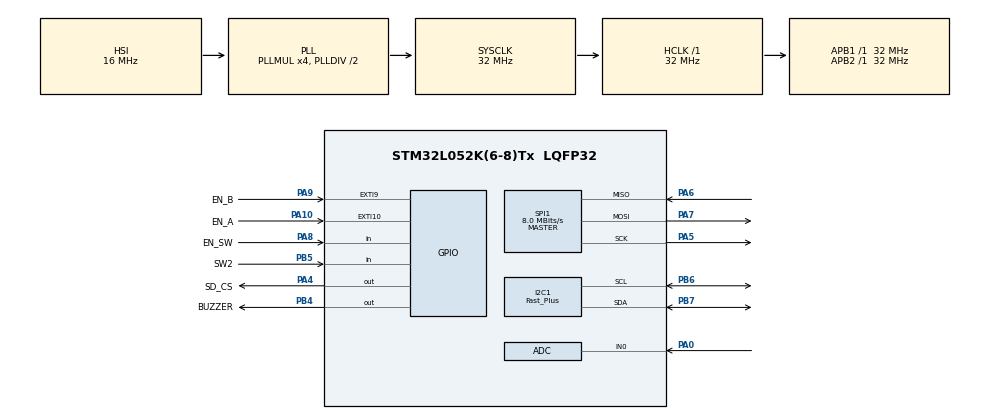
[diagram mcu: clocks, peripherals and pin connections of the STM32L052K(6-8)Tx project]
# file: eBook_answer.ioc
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ADC.ContinuousConvMode=DISABLE
ADC.DMAContinuousRequests=ENABLE
ADC.ExternalTrigConv=ADC_EXTERNALTRIGCONV_T2_TRGO
ADC.SamplingTime=ADC_SAMPLETIME_160CYCLES_5
Dma.ADC.0.Direction=DMA_PERIPH_TO_MEMORY
Dma.ADC.0.Instance=DMA1_Channel1
Dma.ADC.0.MemDataAlignment=DMA_MDATAALIGN_HALFWORD
Dma.ADC.0.MemInc=DMA_MINC_ENABLE
Dma.ADC.0.Mode=DMA_CIRCULAR
Dma.ADC.0.PeriphDataAlignment=DMA_PDATAALIGN_HALFWORD
Dma.ADC.0.PeriphInc=DMA_PINC_DISABLE
Dma.ADC.0.Priority=DMA_PRIORITY_LOW
Dma.Request0=ADC
FATFS._CODE_PAGE=437
FATFS._FS_EXFAT=0
FATFS._FS_LOCK=0
FATFS._FS_MINIMIZE=0
FATFS._FS_READONLY=1
FATFS._LFN_UNICODE=0
FATFS._MAX_SS=512
FATFS._USE_CHMOD=0
FATFS._USE_EXPAND=0
FATFS._USE_FASTSEEK=1
FATFS._USE_FIND=1
FATFS._USE_FORWARD=0
FATFS._USE_LABEL=0
FATFS._USE_LFN=1
FATFS._USE_MKFS=1
FATFS._USE_STRFUNC=2
I2C1.I2C_Speed_Mode=I2C_Fast_Plus
I2C1.Timing=0x00100413
Mcu.Family=STM32L0
Mcu.Name=STM32L052K(6-8)Tx
Mcu.Package=LQFP32
NVIC.DMA1_Channel1_IRQn=true\:0\:0\:false\:false\:true\:false\:true
NVIC.EXTI4_15_IRQn=true\:0\:0\:false\:false\:true\:true\:true
NVIC.TIM2_IRQn=true\:0\:0\:false\:false\:true\:true\:true
PA0.Mode=IN0
PA0.Signal=ADC_IN0
PA10.GPIO_Label=EN_A
PA10.GPIO_ModeDefaultEXTI=GPIO_MODE_IT_FALLING
PA10.Signal=GPXTI10
PA4.GPIO_Label=SD_CS
PA4.GPIO_PuPd=GPIO_PULLUP
PA4.GPIO_Speed=GPIO_SPEED_FREQ_HIGH
PA4.PinState=GPIO_PIN_SET
PA4.Signal=GPIO_Output
PA5.GPIO_PuPd=GPIO_NOPULL
PA5.Mode=Full_Duplex_Master
PA5.Signal=SPI1_SCK
PA6.GPIO_Mode=GPIO_MODE_AF_PP
PA6.GPIO_PuPd=GPIO_PULLUP
PA6.GPIO_Speed=GPIO_SPEED_FREQ_VERY_HIGH
PA6.Mode=Full_Duplex_Master
PA6.Signal=SPI1_MISO
PA7.GPIO_PuPd=GPIO_PULLUP
PA7.Mode=Full_Duplex_Master
PA7.Signal=SPI1_MOSI
PA8.GPIO_Label=EN_SW
PA8.GPIO_PuPd=GPIO_NOPULL
PA8.Signal=GPIO_Input
PA9.GPIO_Label=EN_B
PA9.GPIO_ModeDefaultEXTI=GPIO_MODE_IT_FALLING
PA9.Signal=GPXTI9
PB4.GPIO_Label=BUZZER
PB4.GPIO_PuPd=GPIO_NOPULL
PB4.GPIO_Speed=GPIO_SPEED_FREQ_VERY_HIGH
PB4.PinState=GPIO_PIN_SET
PB4.Signal=GPIO_Output
PB5.GPIO_Label=SW2
PB5.GPIO_Mode=GPIO_MODE_INPUT
PB5.GPIO_PuPd=GPIO_PULLUP
PB5.Signal=GPIO_Input
PB6.GPIO_Pu=GPIO_PULLUP
PB6.Mode=I2C
PB6.Signal=I2C1_SCL
PB7.GPIO_Pu=GPIO_PULLUP
PB7.Mode=I2C
PB7.Signal=I2C1_SDA
ProjectManager.HeapSize=0x0
ProjectManager.StackSize=0x400
ProjectManager.TargetToolchain=STM32CubeIDE
RCC.AHBFreq_Value=32000000
RCC.APB1Freq_Value=32000000
RCC.APB1TimFreq_Value=32000000
RCC.APB2Freq_Value=32000000
RCC.APB2TimFreq_Value=32000000
RCC.HCLKFreq_Value=32000000
RCC.HSI16_VALUE=16000000
RCC.HSI48_VALUE=48000000
RCC.HSI_VALUE=16000000
RCC.LSE_VALUE=32768
RCC.MSI_VALUE=2097000
RCC.PLLMUL=RCC_PLLMUL_4
RCC.SYSCLKFreq_VALUE=32000000
RCC.SYSCLKSource=RCC_SYSCLKSOURCE_PLLCLK
RCC.VCOOutputFreq_Value=64000000
SPI1.BaudRatePrescaler=SPI_BAUDRATEPRESCALER_4
SPI1.CalculateBaudRate=8.0 MBits/s
SPI1.Direction=SPI_DIRECTION_2LINES
SPI1.Mode=SPI_MODE_MASTER
SPI1.VirtualType=VM_MASTER
TIM2.Channel-Input_Capture1_from_TI1=TIM_CHANNEL_1
TIM2.Period=1000-1
TIM2.Prescaler=32-1
TIM2.TIM_MasterOutputTrigger=TIM_TRGO_UPDATE
VP_FATFS_VS_Generic.Mode=User_defined
VP_TIM2_VS_ClockSourceINT.Mode=Internal
board=custom

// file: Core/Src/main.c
/* USER CODE BEGIN Header */
/**
 ******************************************************************************
 * @file           : main.c
 * @brief          : Main program body
 ******************************************************************************
 * @attention
 *
 * <h2><center>&copy; Copyright (c) 2022 STMicroelectronics.
 * All rights reserved.</center></h2>
 *
 * This software component is licensed by ST under BSD 3-Clause license,
 * the "License"; You may not use this file except in compliance with the
 * License. You may obtain a copy of the License at:
 *                        opensource.org/licenses/BSD-3-Clause
 *
 ******************************************************************************
 */
/* USER CODE END Header */
#include "main.h"
#include "fatfs.h"

/* USER CODE BEGIN Includes */
#include "stdio.h"
#include "string.h"
#include "math.h"
#include "ssd1306.h"
#include "fonts.h"
#include "MPU6050.h"
#include "cap1203.h"
/* USER CODE END Includes */

/* USER CODE BEGIN PD */
#define SW1A (!(EN_A_GPIO_Port->IDR & EN_A_Pin))
#define SW1B (!(EN_B_GPIO_Port->IDR & EN_B_Pin))
#define SW1C !(EN_SW_GPIO_Port->IDR & EN_SW_Pin)
#define SW2 !(SW2_GPIO_Port->IDR & SW2_Pin)
#define BUZ(x) (HAL_GPIO_WritePin(GPIOB, GPIO_PIN_4, (!x)))
/* USER CODE END PD */

ADC_HandleTypeDef hadc;
DMA_HandleTypeDef hdma_adc;

I2C_HandleTypeDef hi2c1;

SPI_HandleTypeDef hspi1;

TIM_HandleTypeDef htim2;

/* USER CODE BEGIN PV */
char bf[50];
uint32_t value;
volatile float temp;
FATFS fs;
DIR dir;
mpu6050 Mpu6050;
typedef enum {
	basicMode = 0, bookMode, settingMode, readMode,
} _mode;
typedef enum {
	books = 0, setting, logMenu,
} _Item;
typedef enum {
	reading = 0, delete, mark,
} _Books;
typedef enum {
	rotate = 0, touch, bright, noSetting, brightAuto, brightManual,
} _Setting;
typedef enum {
	_SW1 = 0, _SW2, _SW_MAX,
} _SW;
typedef enum {
	cs0On = 1, cs1On, cs2On, rightSweep, leftSweep,
} _slideSW;
uint8_t firF, rotarySw, bookCount, nowBook, autoBright, angle, befoAngle,
		autoRotate, nowAngle, buzM;
uint32_t cnt, befoSw1c, nowSw1c, befoSw2, nowSw2, befoCap1203, nowCap1203,
		befoAngleC, nowAngleC, buzC;
_mode key = basicMode;

typedef struct BOOK {
	FSIZE_t bookSize;
	uint8_t bookMark;
	uint64_t page;
	uint64_t pageList[10];
	char bookName[40];
	char altName[13];

} _book;
_book bookArray[10];
char readingBook[340];
uint8_t bookLog[3] = { 255, 255, 255 };

/* USER CODE END PV */

void SystemClock_Config(void);
static void MX_GPIO_Init(void);
static void MX_DMA_Init(void);
static void MX_I2C1_Init(void);
static void MX_SPI1_Init(void);
static void MX_ADC_Init(void);
static void MX_TIM2_Init(void);

/* USER CODE BEGIN 0 */
void sort(void) {
	_book temp;
	for (uint8_t i = bookCount - 1; i > 0; i--) {
		for (uint8_t j = 0; j < i; j++) {
			if (0 < strcmp(bookArray[j].bookName, bookArray[j + 1].bookName)) {
				temp = bookArray[j];
				bookArray[j] = bookArray[j + 1];
				bookArray[j + 1] = temp;
			}
		}
	}
	for (uint8_t i = bookCount - 1; i > 0; i--) {
		for (uint8_t j = 0; j < i; j++) {
			if (bookArray[j].bookMark < bookArray[j + 1].bookMark) {
				temp = bookArray[j];
				bookArray[j] = bookArray[j + 1];
				bookArray[j + 1] = temp;
			}
		}
	}
}

void SSD1306_putsXY(uint8_t x, uint8_t y, char *str, uint8_t color) {
	if (nowAngle == 0)
		SSD1306_GotoXY(x * 8, (127 - y * 6) - 6);
	else if (nowAngle == 1)
		SSD1306_GotoXY(y * 6, x * 8);
	else if (nowAngle == 2)
		SSD1306_GotoXY(127 - x * 8, y * 6);
	else
		SSD1306_GotoXY((126 - y * 6) - 6, 120 - x * 8);
	SSD1306_Puts(str, &Font_6x8, color, nowAngle);
}

void setBright(uint8_t temp) {
	uint8_t dt[3];
	dt[0] = 0;
	dt[1] = 0x81;
	dt[2] = temp;
	HAL_I2C_Master_Transmit(&hi2c1, SSD1306_I2C_ADDR_0, dt, 3, 10);
	HAL_I2C_Master_Transmit(&hi2c1, SSD1306_I2C_ADDR_1, dt, 3, 10);
}

void wLog(uint8_t num) {
	static uint8_t i = 0;
	if (bookLog[0] == num)
		return;
	else if (bookLog[1] == num) {
		bookLog[1] = bookLog[0];
		bookLog[0] = num;
		return;
	} else if (i > 2 || bookLog[2] == num) {
		bookLog[2] = bookLog[1];
		bookLog[1] = bookLog[0];
		bookLog[0] = num;
		return;
	}
	bookLog[i] = num;
	i++;
}

void _strtok(char *str, char *key) {
	uint8_t i = 0;
	while (1) {
		if (*(str + i) == *key) {
			*(str + i) = '\0';
			break;
		}

		else
			i++;
	}

}

void f_scanFiles(void) {
	volatile FRESULT res;
	FILINFO fno;
	res = f_mount(&fs, "", 0);
	res = f_opendir(&dir, "");
	res = f_readdir(&dir, &fno);
	while (1) {
		res = f_readdir(&dir, &fno);
		if (res != FR_OK || fno.fname[0] == 0)
			break;
		if (fno.fattrib && AM_DIR) {
			_strtok(fno.fname, ".");
			sprintf(bookArray[bookCount].bookName, "%s", fno.fname);
			sprintf(bookArray[bookCount].altName, "%s", fno.altname);
			bookArray[bookCount].bookSize = fno.fsize;
			bookCount++;
		}
	}
	f_closedir(&dir);
	res = f_mount(NULL, "", 0);
}

void f_openTxt(char *bookName, FSIZE_t ofs) {
	UINT nbrB = 0;
	FIL fil;
	volatile FRESULT res = FR_OK;
	char buf[13] = { 0, };
	strcpy(buf, bookName);
	res = f_mount(&fs, "", 1);
	if (res == FR_OK)
		res = f_open(&fil, buf, FA_READ);
	if (res == FR_OK)
		res = f_lseek(&fil, ofs);
	if (res == FR_OK)
		res = f_read(&fil, &readingBook, 340, &nbrB);
	if (res == FR_OK)
		res = f_close(&fil);
	res = f_mount(NULL, "", 1);
}

void strncopy(uint64_t *page, uint64_t *st, char *str) {
	int i = 0;
	for (i = 0; i < 10; i++) {
		str[i] = readingBook[(*st % 320) + i];
		if (str[i] == '\r') {
			str[i] = 0;
			i += 2;
			break;
		}
	}
	*page += i;
	*st += i;
}

void ro_str(char *str) {
	int len = strlen(str) - 1;
	for (int i = 0; i < len; i++) {
		char temp = str[len];
		for (int i = len; i > 0; i--)
			str[i] = str[i - 1];
		str[0] = temp;
	}
}

void _readRotation(uint8_t *count, uint8_t max) {

	if (rotarySw == 1) {
		if (*count < max)
			*count += 1;
	} else if (rotarySw == 2) {
		if (*count > 0)
			*count -= 1;
	}
	rotarySw = 0;

}
uint8_t read_sw(_SW sel) {
	const uint8_t now_sw[_SW_MAX] = { SW1C, SW2, };
	static uint32_t frev_tick[_SW_MAX] = { 0, };
	static uint8_t state[_SW_MAX] = { 0, };
	uint32_t now_tick = HAL_GetTick();

	if (now_sw[sel]) {
		if (now_tick - frev_tick[sel] > 50) {
			state[sel] = 1;
			frev_tick[sel] = now_tick;
		}
	} else {
		if (state[sel]) {
			state[sel] = 0;
			buzM = 1;
			return 1;
		}
	}
	return 0;
}

void getSlide(uint8_t *res) {
	uint8_t temp;
	static int cap1203State = 0;
	static _slideSW swipMode = 0;
	cap1203_getinputvalue(&temp);
	if (temp & 0x01)
		temp = cs0On;
	else if (temp & 0x02)
		temp = cs1On;
	else if (temp & 0x04)
		temp = cs2On;
	if (temp) {
		if (temp == cs0On) {
			if (!cap1203State && !swipMode) {
				cap1203State++;
				swipMode = rightSweep;
			} else if (cap1203State == 2 && swipMode == leftSweep)
				cap1203State++;
		} else if (temp == cs1On && nowCap1203 - befoCap1203 < 200) {
			if (cap1203State == 1 && swipMode)
				cap1203State++;
		} else if (temp == cs2On && nowCap1203 - befoCap1203 < 200) {
			if (!cap1203State && !swipMode) {
				cap1203State++;
				swipMode = leftSweep;
			} else if (cap1203State == 2 && swipMode == rightSweep)
				cap1203State++;
		}
		befoCap1203 = nowCap1203;
	}
	if (cap1203State == 3) {
		*res = swipMode;
		cap1203State = 0;
	} else
		*res = 0;
	if (nowCap1203 - befoCap1203 >= 200) {
		cap1203State = 0;
		swipMode = 0;
	}
}

void basicScreen() {
	static _Item sel = books;
	static uint8_t screenState = 0;
	if (!firF) {
		firF = 1;
		SSD1306_Fill(0);
		SSD1306_putsXY(1, 1, "-Ebook-", 0);
		SSD1306_putsXY(4, 0, "-Book", 0);
		SSD1306_putsXY(6, 0, "-Setting", 0);
		SSD1306_putsXY(8, 0, "-LOG", 0);
		if (sel == books && !screenState) {
			SSD1306_putsXY(4, 11, "-read", 0);
			SSD1306_putsXY(6, 11, "-delete", 0);
			SSD1306_putsXY(8, 11, "-mark", 0);
		}

		else if (sel == setting && !screenState) {
			SSD1306_putsXY(4, 11, "-rotate", 0);
			SSD1306_putsXY(6, 11, "-touch", 0);
			SSD1306_putsXY(8, 11, "-bright", 0);
		} else if (sel == logMenu || screenState) {
			for (int i = 0; i < 3; i++) {
				char str[13] = { 0, };
				strcpy(str,
						bookLog[i] != 255 ?
								bookArray[bookLog[i]].bookName : "empty");
				SSD1306_putsXY(4 + (i * 2), 11, str, 0);
			}
		}
		SSD1306_putsXY(4 + sel * 2, 9 + screenState, "<", 0);
		SSD1306_UpdateScreen();
	}
	angle = get_angle(&Mpu6050);
	firF = 0;
	_readRotation(&sel, 2);
	if (read_sw(_SW1)) {
		if (bookLog[sel] != 255 && screenState) {
			memset(readingBook, 0, sizeof(readingBook));
			HAL_Delay(200);
			f_openTxt(bookArray[bookLog[sel]].altName, 0);
			nowBook = bookLog[sel];
			key = readMode;
			bookArray[nowBook].page = 0;
			wLog(nowBook);
			screenState = 0;
		} else if (sel == logMenu)
			screenState = 10;
		else if (!screenState)
			key = sel + 1;
		sel = 0;
	}
	if (read_sw(_SW2)) {
		sel = 0;
		screenState = 0;
	}
}

void bookScreen(void) {
	static _Books sel = reading, modeState = reading, f_sel = reading;
	static uint8_t selMax = 2, screenState = 0, b_sel = 0;
	static uint32_t frev_tick = 0;
	static char _ro_str[40] = { 0, };
	if (!firF) {
		firF = 1;
		SSD1306_Fill(0);
		SSD1306_putsXY(1, 1, "-Ebook-", 0);
		SSD1306_putsXY(4, 0, "-read", 0);
		SSD1306_putsXY(6, 0, "-delete", 0);
		SSD1306_putsXY(8, 0, "-mark", 0);
		SSD1306_putsXY(1, 13, "-List-", 0);
		if (bookCount > 0)
			sort();
		for (int i = 0; i < bookCount; i++) {
			char str[13] = { 0, };
			char tmp[13] = { 0, };
			strcpy(str, (bookArray[i].bookMark ? "*" : ""));
			strncpy(tmp, bookArray[i].bookName, *str == '*' ? 9 : 10);
			strcat(str, tmp);
			if (i == sel && screenState) {
				if (!b_sel) {
					b_sel = 1;
					memset(_ro_str, 0, strlen(_ro_str));
					strcat(_ro_str, bookArray[i].bookName);
				}
				if (HAL_GetTick() - frev_tick >= 500) {
					frev_tick = HAL_GetTick();
					ro_str(_ro_str);
					SSD1306_putsXY(4 + (i * 2), 11, _ro_str, 0);
				}
			}
			SSD1306_putsXY(4 + (i * 2), 11,
					(i == sel && screenState) ? _ro_str : str, 0);
		}

		SSD1306_putsXY(4 + sel * 2, 9 + screenState, "<", 0);
		SSD1306_UpdateScreen();
	}
	angle = get_angle(&Mpu6050);
	firF = 0;
	_readRotation(&sel, selMax);
	if (sel != f_sel) {
		f_sel = sel;
		b_sel = 0;
	}
	if (read_sw(_SW1)) {
		if (screenState) {
			if (modeState == reading) {
				memset(readingBook, 0, sizeof(readingBook));
				f_openTxt(bookArray[sel].altName, 100);
				nowBook = sel;
				key = readMode;
				bookArray[nowBook].page = 0;
				wLog(nowBook);
			} else if (modeState == delete) {
				memset(&bookArray[sel], 0, sizeof(_book));
				for (int i = sel; i < bookCount; i++)
					bookArray[i] = bookArray[i + 1];
				bookCount--;
			} else if (modeState == mark) {
				bookArray[sel].bookMark = !bookArray[sel].bookMark;
			}
			screenState = 0;
			selMax = 2;
		} else {
			screenState = 11;
			selMax = bookCount - 1;
			modeState = sel;
		}
		sel = 0;
	}
	if (read_sw(_SW2)) {
		sel = 0;
		if (screenState) {
			selMax = 2;
			screenState = 0;
		} else {
			firF = 0;
			key = basicMode;
		}
	}
}

void readScreen(void) {
	_slideSW slideState = 0;
	static uint64_t st = 0;
	static FSIZE_t nowPage = 0;
	if (!firF) {
		HAL_Delay(100);
		st = 0;
		SSD1306_Fill(0);
		bookArray[nowBook].pageList[nowPage] = bookArray[nowBook].page;
		for (int i = 0; i < 30; i++) {
			char str[21] = { 0, };
			strncopy(&bookArray[nowBook].page, &st, str);
			SSD1306_putsXY(i % 15, i < 15 ? 0 : 11, str, 0);
		}
		sprintf(bf, "-%d-", nowPage * 2 + 1);
		SSD1306_putsXY(15, 3, bf, 0);
		sprintf(bf, "-%d-", nowPage * 2 + 2);
		SSD1306_putsXY(15, 14, bf, 0);
		SSD1306_UpdateScreen();
		firF = 1;
	}
	angle = get_angle(&Mpu6050);
	if (read_sw(_SW2)) {
		firF = 0;
		key = bookMode;
		nowPage = 0;
	}
	getSlide(&slideState);
	if (slideState) {
		if (slideState == rightSweep
				&& bookArray[nowBook].page < bookArray[nowBook].bookSize) {
			nowPage += 1;
		} else if (slideState == leftSweep) {
			nowPage -= nowPage > 0 ? 1 : 0;
			bookArray[nowBook].page = bookArray[nowBook].pageList[nowPage];
		}
		if (bookArray[nowBook].page < bookArray[nowBook].bookSize) {
			memset(readingBook, 0, sizeof(readingBook));
			f_openTxt(bookArray[nowBook].altName, bookArray[nowBook].page);
			firF = 0;
		}
	}
}

void settingScreen(void) {
	static _Setting sel = rotate, modeState = noSetting;
	static uint8_t screenState = 0, sensitivity = 1, setAutoBright = 0,
			brightness = 255, setAutoRotate = 0;
	static _slideSW slideState = 0;
	if (!firF) {
		firF = 1;
		SSD1306_Fill(0);
		SSD1306_putsXY(1, 0, "-Setting-", 0);
		SSD1306_putsXY(4, 0, "-rotate", 0);
		SSD1306_putsXY(6, 0, "-touch", 0);
		SSD1306_putsXY(8, 0, "-bright", 0);
		SSD1306_putsXY(
				4
						+ sel
								* ((modeState == bright
										|| modeState == brightManual) ? 5 : 2),
				9 + screenState, "<", 0);
		if (modeState == noSetting ? sel == rotate : modeState == rotate) {
			SSD1306_putsXY(1, 12, "-rotate-", 0);
			SSD1306_putsXY(4, 11, "-auto", 0);
			SSD1306_putsXY(5, 12, setAutoRotate ? "-ON " : "-OFF", 0);
		} else if (modeState == noSetting ? sel == touch : modeState == touch) {
			SSD1306_putsXY(1, 12, "-touch-", 0);
			SSD1306_putsXY(4, 11, "-set val", 0);
			sprintf(bf, "-%d", sensitivity);
			SSD1306_putsXY(5, 12, bf, 0);
		} else if (
				modeState == noSetting ?
						sel == bright :
						(modeState == bright || modeState == brightAuto
								|| modeState == brightManual)) {
			SSD1306_putsXY(1, 12, "-bright-", 0);
			SSD1306_putsXY(4, 11, "-auto", 0);
			SSD1306_putsXY(5, 12, setAutoBright ? "-ON " : "-OFF", 0);
			SSD1306_putsXY(9, 11, "-manual", 0);
			sprintf(bf, "-%03d", brightness);
			SSD1306_putsXY(10, 12, bf, 0);
		}

		SSD1306_UpdateScreen();
	}
	angle = get_angle(&Mpu6050);

	firF = 0;
	if (modeState == noSetting)
		_readRotation(&sel, 2);
	else if (modeState == touch)
		_readRotation(&sensitivity, 7);
	else if (modeState == bright)
		_readRotation(&sel, 1);
	else if (modeState == brightAuto)
		_readRotation(&setAutoBright, 1);
	else if (modeState == brightManual) {
		getSlide(&slideState);
		if (slideState == rightSweep)
			brightness = brightness + 10 < 255 ? brightness + 10 : 255;
		if (slideState == leftSweep)
			brightness = brightness - 10 > 0 ? brightness - 10 : 0;
		_readRotation(&brightness, 255);
	} else if (modeState == rotate)
		_readRotation(&setAutoRotate, 1);

	if (read_sw(_SW1)) {
		if (screenState) {
			if (modeState == touch)
				setSensitivity(7 - sensitivity);
			else if (modeState == bright)
				modeState = sel ? brightManual : brightAuto;
			else if (modeState == brightAuto) {
				autoBright = setAutoBright;
				modeState = bright;
			} else if (modeState == brightManual) {
				setBright(brightness);
				modeState = bright;
			}
		} else {
			modeState = sel;
			sel = 0;
			screenState = 10;
		}
	}
	if (read_sw(_SW2)) {
		if (screenState) {
			if (modeState == rotate)
				autoRotate = setAutoRotate;
			screenState = 0;
			modeState = noSetting;
		} else {
			firF = 0;
			key = basicMode;
		}

	}
}
void HAL_TIM_PeriodElapsedCallback(TIM_HandleTypeDef *htim) {
	cnt++;
	nowSw2++;
	nowSw1c++;
	nowCap1203++;
	nowAngleC++;
	if (autoBright) {
		temp = (float) (3000 * value / 4096) / 6.0;
		if (temp > 255)
			temp = 255;
		setBright(temp);
	}
	if (autoRotate) {
		if (angle == befoAngle)
			befoAngleC = nowAngleC;
		if ((nowAngleC - befoAngleC) > 250) {
			firF = 0;
			nowAngle = angle;
			befoAngle = nowAngle;
		}
	}
	if (buzM) {
		buzC++;
		if (buzC < 100)
			BUZ(1);
		else if (buzC < 150)
			BUZ(0);
		else if (buzC < 250)
			BUZ(1);
		else {
			buzC = buzM = 0;
			BUZ(0);
		}
	}
}
/* USER CODE END 0 */

int main(void)
{

  /* MCU Configuration--------------------------------------------------------*/

  /* Reset of all peripherals, Initializes the Flash interface and the Systick. */
  HAL_Init();

  /* Configure the system clock */
  SystemClock_Config();

  /* Initialize all configured peripherals */
  MX_GPIO_Init();
  MX_DMA_Init();
  MX_I2C1_Init();
  MX_SPI1_Init();
  MX_ADC_Init();
  MX_TIM2_Init();
  MX_FATFS_Init();
  /* USER CODE BEGIN 2 */
	HAL_TIM_Base_Start_IT(&htim2);
	HAL_ADC_Start_DMA(&hadc, &value, 1);
	HAL_Delay(200);
	f_scanFiles();
	SSD1306_Init();
	SSD1306_ToggleInvert();
	init_MPU6050();
	cap1203_init(SENSITIVITY_2X);
	set_sensitivity(&hi2c1, &Mpu6050, 0, 0);
  /* USER CODE END 2 */

  /* Infinite loop */
  /* USER CODE BEGIN WHILE */
	while (1) {
		if (key == basicMode) {
			basicScreen();
		} else if (key == bookMode) {
			bookScreen();
		} else if (key == readMode) {
			readScreen();
		} else if (key == settingMode) {
			settingScreen();
		}
    /* USER CODE END WHILE */

	}
}

void SystemClock_Config(void)
{
  RCC_OscInitTypeDef RCC_OscInitStruct = {0};
  RCC_ClkInitTypeDef RCC_ClkInitStruct = {0};
  RCC_PeriphCLKInitTypeDef PeriphClkInit = {0};

  /** Configure the main internal regulator output voltage
  */
  __HAL_PWR_VOLTAGESCALING_CONFIG(PWR_REGULATOR_VOLTAGE_SCALE1);
  /** Initializes the RCC Oscillators according to the specified parameters
  * in the RCC_OscInitTypeDef structure.
  */
  RCC_OscInitStruct.OscillatorType = RCC_OSCILLATORTYPE_HSI;
  RCC_OscInitStruct.HSIState = RCC_HSI_ON;
  RCC_OscInitStruct.HSICalibrationValue = RCC_HSICALIBRATION_DEFAULT;
  RCC_OscInitStruct.PLL.PLLState = RCC_PLL_ON;
  RCC_OscInitStruct.PLL.PLLSource = RCC_PLLSOURCE_HSI;
  RCC_OscInitStruct.PLL.PLLMUL = RCC_PLLMUL_4;
  RCC_OscInitStruct.PLL.PLLDIV = RCC_PLLDIV_2;
  if (HAL_RCC_OscConfig(&RCC_OscInitStruct) != HAL_OK)
  {
    Error_Handler();
  }
  /** Initializes the CPU, AHB and APB buses clocks
  */
  RCC_ClkInitStruct.ClockType = RCC_CLOCKTYPE_HCLK|RCC_CLOCKTYPE_SYSCLK
                              |RCC_CLOCKTYPE_PCLK1|RCC_CLOCKTYPE_PCLK2;
  RCC_ClkInitStruct.SYSCLKSource = RCC_SYSCLKSOURCE_PLLCLK;
  RCC_ClkInitStruct.AHBCLKDivider = RCC_SYSCLK_DIV1;
  RCC_ClkInitStruct.APB1CLKDivider = RCC_HCLK_DIV1;
  RCC_ClkInitStruct.APB2CLKDivider = RCC_HCLK_DIV1;

  if (HAL_RCC_ClockConfig(&RCC_ClkInitStruct, FLASH_LATENCY_1) != HAL_OK)
  {
    Error_Handler();
  }
  PeriphClkInit.PeriphClockSelection = RCC_PERIPHCLK_I2C1;
  PeriphClkInit.I2c1ClockSelection = RCC_I2C1CLKSOURCE_PCLK1;
  if (HAL_RCCEx_PeriphCLKConfig(&PeriphClkInit) != HAL_OK)
  {
    Error_Handler();
  }
}

static void MX_ADC_Init(void)
{

  ADC_ChannelConfTypeDef sConfig = {0};

  /** Configure the global features of the ADC (Clock, Resolution, Data Alignment and number of conversion)
  */
  hadc.Instance = ADC1;
  hadc.Init.OversamplingMode = DISABLE;
  hadc.Init.ClockPrescaler = ADC_CLOCK_SYNC_PCLK_DIV2;
  hadc.Init.Resolution = ADC_RESOLUTION_12B;
  hadc.Init.SamplingTime = ADC_SAMPLETIME_160CYCLES_5;
  hadc.Init.ScanConvMode = ADC_SCAN_DIRECTION_FORWARD;
  hadc.Init.DataAlign = ADC_DATAALIGN_RIGHT;
  hadc.Init.ContinuousConvMode = DISABLE;
  hadc.Init.DiscontinuousConvMode = DISABLE;
  hadc.Init.ExternalTrigConvEdge = ADC_EXTERNALTRIGCONVEDGE_RISING;
  hadc.Init.ExternalTrigConv = ADC_EXTERNALTRIGCONV_T2_TRGO;
  hadc.Init.DMAContinuousRequests = ENABLE;
  hadc.Init.EOCSelection = ADC_EOC_SINGLE_CONV;
  hadc.Init.Overrun = ADC_OVR_DATA_PRESERVED;
  hadc.Init.LowPowerAutoWait = DISABLE;
  hadc.Init.LowPowerFrequencyMode = DISABLE;
  hadc.Init.LowPowerAutoPowerOff = DISABLE;
  if (HAL_ADC_Init(&hadc) != HAL_OK)
  {
    Error_Handler();
  }
  /** Configure for the selected ADC regular channel to be converted.
  */
  sConfig.Channel = ADC_CHANNEL_0;
  sConfig.Rank = ADC_RANK_CHANNEL_NUMBER;
  if (HAL_ADC_ConfigChannel(&hadc, &sConfig) != HAL_OK)
  {
    Error_Handler();
  }

}

static void MX_I2C1_Init(void)
{

  hi2c1.Instance = I2C1;
  hi2c1.Init.Timing = 0x00100413;
  hi2c1.Init.OwnAddress1 = 0;
  hi2c1.Init.AddressingMode = I2C_ADDRESSINGMODE_7BIT;
  hi2c1.Init.DualAddressMode = I2C_DUALADDRESS_DISABLE;
  hi2c1.Init.OwnAddress2 = 0;
  hi2c1.Init.OwnAddress2Masks = I2C_OA2_NOMASK;
  hi2c1.Init.GeneralCallMode = I2C_GENERALCALL_DISABLE;
  hi2c1.Init.NoStretchMode = I2C_NOSTRETCH_DISABLE;
  if (HAL_I2C_Init(&hi2c1) != HAL_OK)
  {
    Error_Handler();
  }
  /** Configure Analogue filter
  */
  if (HAL_I2CEx_ConfigAnalogFilter(&hi2c1, I2C_ANALOGFILTER_ENABLE) != HAL_OK)
  {
    Error_Handler();
  }
  /** Configure Digital filter
  */
  if (HAL_I2CEx_ConfigDigitalFilter(&hi2c1, 0) != HAL_OK)
  {
    Error_Handler();
  }
  /** I2C Fast mode Plus enable
  */
  HAL_I2CEx_EnableFastModePlus(I2C_FASTMODEPLUS_I2C1);

}

static void MX_SPI1_Init(void)
{

  /* SPI1 parameter configuration*/
  hspi1.Instance = SPI1;
  hspi1.Init.Mode = SPI_MODE_MASTER;
  hspi1.Init.Direction = SPI_DIRECTION_2LINES;
  hspi1.Init.DataSize = SPI_DATASIZE_8BIT;
  hspi1.Init.CLKPolarity = SPI_POLARITY_LOW;
  hspi1.Init.CLKPhase = SPI_PHASE_1EDGE;
  hspi1.Init.NSS = SPI_NSS_SOFT;
  hspi1.Init.BaudRatePrescaler = SPI_BAUDRATEPRESCALER_4;
  hspi1.Init.FirstBit = SPI_FIRSTBIT_MSB;
  hspi1.Init.TIMode = SPI_TIMODE_DISABLE;
  hspi1.Init.CRCCalculation = SPI_CRCCALCULATION_DISABLE;
  hspi1.Init.CRCPolynomial = 7;
  if (HAL_SPI_Init(&hspi1) != HAL_OK)
  {
    Error_Handler();
  }

}

static void MX_TIM2_Init(void)
{

  TIM_ClockConfigTypeDef sClockSourceConfig = {0};
  TIM_MasterConfigTypeDef sMasterConfig = {0};

  htim2.Instance = TIM2;
  htim2.Init.Prescaler = 32-1;
  htim2.Init.CounterMode = TIM_COUNTERMODE_UP;
  htim2.Init.Period = 1000-1;
  htim2.Init.ClockDivision = TIM_CLOCKDIVISION_DIV1;
  htim2.Init.AutoReloadPreload = TIM_AUTORELOAD_PRELOAD_DISABLE;
  if (HAL_TIM_Base_Init(&htim2) != HAL_OK)
  {
    Error_Handler();
  }
  sClockSourceConfig.ClockSource = TIM_CLOCKSOURCE_INTERNAL;
  if (HAL_TIM_ConfigClockSource(&htim2, &sClockSourceConfig) != HAL_OK)
  {
    Error_Handler();
  }
  sMasterConfig.MasterOutputTrigger = TIM_TRGO_UPDATE;
  sMasterConfig.MasterSlaveMode = TIM_MASTERSLAVEMODE_DISABLE;
  if (HAL_TIMEx_MasterConfigSynchronization(&htim2, &sMasterConfig) != HAL_OK)
  {
    Error_Handler();
  }

}

static void MX_DMA_Init(void)
{

  /* DMA controller clock enable */
  __HAL_RCC_DMA1_CLK_ENABLE();

  /* DMA interrupt init */
  /* DMA1_Channel1_IRQn interrupt configuration */
  HAL_NVIC_SetPriority(DMA1_Channel1_IRQn, 0, 0);
  HAL_NVIC_EnableIRQ(DMA1_Channel1_IRQn);

}

static void MX_GPIO_Init(void)
{
  GPIO_InitTypeDef GPIO_InitStruct = {0};

  /* GPIO Ports Clock Enable */
  __HAL_RCC_GPIOA_CLK_ENABLE();
  __HAL_RCC_GPIOB_CLK_ENABLE();

  /*Configure GPIO pin Output Level */
  HAL_GPIO_WritePin(SD_CS_GPIO_Port, SD_CS_Pin, GPIO_PIN_SET);

  /*Configure GPIO pin Output Level */
  HAL_GPIO_WritePin(BUZZER_GPIO_Port, BUZZER_Pin, GPIO_PIN_SET);

  /*Configure GPIO pin : SD_CS_Pin */
  GPIO_InitStruct.Pin = SD_CS_Pin;
  GPIO_InitStruct.Mode = GPIO_MODE_OUTPUT_PP;
  GPIO_InitStruct.Pull = GPIO_PULLUP;
  GPIO_InitStruct.Speed = GPIO_SPEED_FREQ_HIGH;
  HAL_GPIO_Init(SD_CS_GPIO_Port, &GPIO_InitStruct);

  /*Configure GPIO pin : EN_SW_Pin */
  GPIO_InitStruct.Pin = EN_SW_Pin;
  GPIO_InitStruct.Mode = GPIO_MODE_INPUT;
  GPIO_InitStruct.Pull = GPIO_NOPULL;
  HAL_GPIO_Init(EN_SW_GPIO_Port, &GPIO_InitStruct);

  /*Configure GPIO pins : EN_B_Pin EN_A_Pin */
  GPIO_InitStruct.Pin = EN_B_Pin|EN_A_Pin;
  GPIO_InitStruct.Mode = GPIO_MODE_IT_FALLING;
  GPIO_InitStruct.Pull = GPIO_NOPULL;
  HAL_GPIO_Init(GPIOA, &GPIO_InitStruct);

  /*Configure GPIO pin : BUZZER_Pin */
  GPIO_InitStruct.Pin = BUZZER_Pin;
  GPIO_InitStruct.Mode = GPIO_MODE_OUTPUT_PP;
  GPIO_InitStruct.Pull = GPIO_NOPULL;
  GPIO_InitStruct.Speed = GPIO_SPEED_FREQ_VERY_HIGH;
  HAL_GPIO_Init(BUZZER_GPIO_Port, &GPIO_InitStruct);

  /*Configure GPIO pin : SW2_Pin */
  GPIO_InitStruct.Pin = SW2_Pin;
  GPIO_InitStruct.Mode = GPIO_MODE_INPUT;
  GPIO_InitStruct.Pull = GPIO_PULLUP;
  HAL_GPIO_Init(SW2_GPIO_Port, &GPIO_InitStruct);

  /* EXTI interrupt init*/
  HAL_NVIC_SetPriority(EXTI4_15_IRQn, 0, 0);
  HAL_NVIC_EnableIRQ(EXTI4_15_IRQn);

}

/* USER CODE BEGIN 4 */
void HAL_GPIO_EXTI_Callback(uint16_t GPIO_Pin) {
	if (GPIO_Pin == GPIO_PIN_10) {
		if (SW1B == 1) {
			rotarySw = 2;
		}
	}

	if (GPIO_Pin == GPIO_PIN_9) {
		if (SW1A == 1) {
			rotarySw = 1;
		}
	}
}
/* USER CODE END 4 */

void Error_Handler(void)
{
	__disable_irq();
	while (1) {
	}
}
